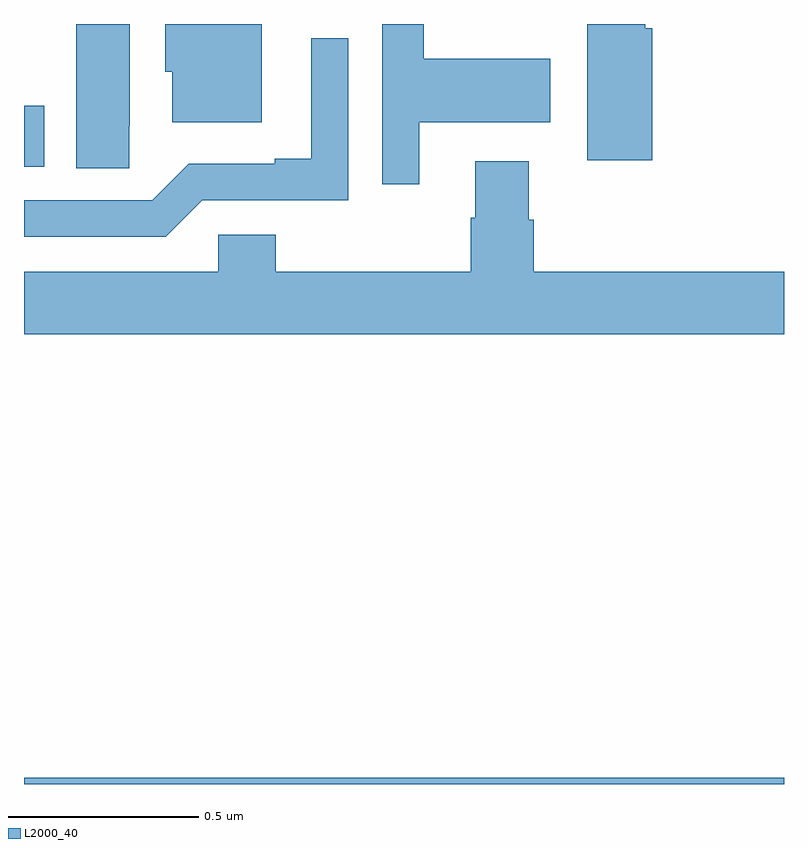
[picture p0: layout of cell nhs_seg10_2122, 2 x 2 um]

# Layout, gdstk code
import gdstk
lib = gdstk.Library(unit=1e-6, precision=1e-09)
def R(c, l, rs):  # rectangles x0, y0, x1, y1
    for r in rs: c.add(gdstk.rectangle(r[:2], r[2:], *l))
def P(c, l, *ps):  # polygons
    for p in ps: c.add(gdstk.Polygon(p, *l))
L2000_40 = (2000, 40)

nhs_seg10_2122 = lib.new_cell('nhs_seg10_2122')
R(nhs_seg10_2122, L2000_40, [(137,1264.5,139,1264.516), (137,1266.125,137.053,1266.285)])
P(nhs_seg10_2122, L2000_40, [(137.277,1266.232),(137.278,1266.232),(137.278,1266.5),(137.138,1266.5),(137.138,1266.121),(137.277,1266.121)],
  [(138.653,1266.489),(138.635,1266.489),(138.635,1266.5),(138.482,1266.5),(138.482,1266.141),(138.653,1266.141)],
  [(137.626,1266.5),(137.372,1266.5),(137.372,1266.375),(137.39,1266.375),(137.39,1266.242),(137.626,1266.242)],
  [(138.04,1266.242),(138.385,1266.242),(138.385,1266.408),(138.052,1266.408),(138.052,1266.5),(137.943,1266.5),(137.943,1266.078),(138.04,1266.078)],
  [(137.469,1266.036),(137.853,1266.036),(137.853,1266.463),(137.756,1266.463),(137.756,1266.145),(137.66,1266.145),(137.66,1266.132),(137.433,1266.132),(137.337,1266.036),(137,1266.036),(137,1265.94),(137.373,1265.94)],
  [(138.328,1265.985),(138.328,1266.139),(138.188,1266.139),(138.188,1265.99),(138.176,1265.99),(138.176,1265.848),(137.663,1265.848),(137.663,1265.946),(137.511,1265.946),(137.511,1265.848),(137,1265.848),(137,1265.684),(139,1265.684),(139,1265.848),(138.341,1265.848),(138.341,1265.985)])

lib.write_gds('nhs_seg10_2122.gds')
